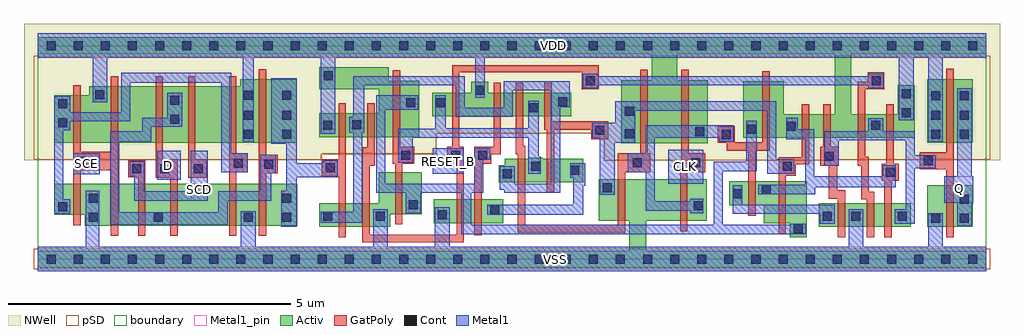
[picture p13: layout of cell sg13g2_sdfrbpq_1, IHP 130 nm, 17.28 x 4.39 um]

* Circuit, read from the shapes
.subckt sg13g2_sdfrbpq_1 CLK D Q RESET_B SCD SCE VDD VSS
XM1 VSS SCE n1 VSS sg13_lv_nmos w=0.55u l=0.13u
XM2 n2 SCE VSS VSS sg13_lv_nmos w=0.74u l=0.13u
XM3 n3 SCD n2 VSS sg13_lv_nmos w=0.74u l=0.13u
XM4 n4 D n3 VSS sg13_lv_nmos w=0.74u l=0.13u
XM5 VSS n1 n4 VSS sg13_lv_nmos w=0.74u l=0.13u
XM6 n5 n3 VSS VSS sg13_lv_nmos w=0.74u l=0.13u
XM7 n6 n5 n7 VSS sg13_lv_nmos w=0.42u l=0.13u
XM8 VSS RESET_B n6 VSS sg13_lv_nmos w=0.42u l=0.13u
XM9 n8 n9 VSS VSS sg13_lv_nmos w=0.74u l=0.13u
XM10 n10 RESET_B VSS VSS sg13_lv_nmos w=0.42u l=0.13u
XM11 n11 n8 n10 VSS sg13_lv_nmos w=0.42u l=0.13u
XM12 n9 n12 n7 VSS sg13_lv_nmos w=0.42u l=0.13u
XM13 n11 n13 n9 VSS sg13_lv_nmos w=0.42u l=0.13u
XM14 VSS n12 n13 VSS sg13_lv_nmos w=0.74u l=0.13u
XM15 n12 CLK VSS VSS sg13_lv_nmos w=0.74u l=0.13u
XM16 n14 n12 n15 VSS sg13_lv_nmos w=0.42u l=0.13u
XM17 n8 n13 n14 VSS sg13_lv_nmos w=0.74u l=0.13u
XM18 VSS n16 n15 VSS sg13_lv_nmos w=0.42u l=0.13u
XM19 n17 RESET_B VSS VSS sg13_lv_nmos w=0.42u l=0.13u
XM20 n16 n14 n17 VSS sg13_lv_nmos w=0.42u l=0.13u
XM21 Q n16 VSS VSS sg13_lv_nmos w=0.74u l=0.13u
XM22 VDD SCE n1 VDD sg13_lv_pmos w=0.84u l=0.13u
XM23 n18 SCE VDD VDD sg13_lv_pmos w=1u l=0.13u
XM24 n3 D n18 VDD sg13_lv_pmos w=1u l=0.13u
XM25 n19 SCD n3 VDD sg13_lv_pmos w=1u l=0.13u
XM26 VDD n1 n19 VDD sg13_lv_pmos w=1u l=0.13u
XM27 n5 n3 VDD VDD sg13_lv_pmos w=1.12u l=0.13u
XM28 n7 n5 VDD VDD sg13_lv_pmos w=0.42u l=0.13u
XM29 VDD RESET_B n7 VDD sg13_lv_pmos w=0.42u l=0.13u
XM30 n8 n9 VDD VDD sg13_lv_pmos w=1u l=0.13u
XM31 VDD RESET_B n9 VDD sg13_lv_pmos w=0.42u l=0.13u
XM32 n20 n8 VDD VDD sg13_lv_pmos w=0.42u l=0.13u
XM33 n9 n12 n20 VDD sg13_lv_pmos w=0.42u l=0.13u
XM34 n7 n13 n9 VDD sg13_lv_pmos w=0.42u l=0.13u
XM35 VDD n12 n13 VDD sg13_lv_pmos w=1.12u l=0.13u
XM36 n12 CLK VDD VDD sg13_lv_pmos w=1.12u l=0.13u
XM37 n14 n12 n8 VDD sg13_lv_pmos w=1u l=0.13u
XM38 n21 n13 n14 VDD sg13_lv_pmos w=0.42u l=0.13u
XM39 VDD n16 n21 VDD sg13_lv_pmos w=0.42u l=0.13u
XM40 n16 RESET_B VDD VDD sg13_lv_pmos w=0.42u l=0.13u
XM41 VDD n14 n16 VDD sg13_lv_pmos w=0.42u l=0.13u
XM42 Q n16 VDD VDD sg13_lv_pmos w=1.12u l=0.13u
.ends

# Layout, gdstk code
import gdstk
lib = gdstk.Library(unit=1e-6, precision=1e-09)
def R(c, l, rs):  # rectangles x0, y0, x1, y1
    for r in rs: c.add(gdstk.rectangle(r[:2], r[2:], *l))
def A(c, l, x, y, w, h, nx, ny, dx, dy):  # array of equal rectangles
    R(c, l, [(x+i*dx, y+j*dy, x+i*dx+w, y+j*dy+h) for i in range(nx) for j in range(ny)])
def P(c, l, *ps):  # polygons
    for p in ps: c.add(gdstk.Polygon(p, *l))
Activ = (1, 0)
GatPoly = (5, 0)
Cont = (6, 0)
Metal1 = (8, 0)
Metal1_pin = (8, 2)
pSD = (14, 0)
NWell = (31, 0)
boundary = (189, 4)

sg13g2_sdfrbpq_1 = lib.new_cell('sg13g2_sdfrbpq_1')
R(sg13g2_sdfrbpq_1, Activ, [(0,-0.15,4.8,0.15), (4.8,-0.15,16.8,0.15), (13.83,0.57,15.46,0.99), (15.75,0.57,16.56,1.31), (7.015,0.635,8.245,1.055), (15.75,2.06,16.56,3.18), (0,3.63,4.8,3.93)])
P(sg13g2_sdfrbpq_1, Activ, [(13.32,0.39),(13.32,0.635),(12.86,0.635),(12.86,0.955),(12.245,0.955),(12.245,1.375),(13.62,1.375),(13.62,0.39)],
  [(8.165,1.36),(8.165,1.66),(8.275,1.66),(8.275,1.78),(8.705,1.78),(8.705,1.79),(8.945,1.79),(8.945,1.78),(9.66,1.78),(9.66,1.36)],
  [(6.99,2.525),(6.99,2.945),(7.68,2.945),(7.68,3.14),(7.98,3.14),(7.98,2.945),(9.445,2.945),(9.445,2.525)],
  [(12.495,2.145),(12.495,3.145),(13.215,3.145),(13.215,2.565),(14.11,2.565),(14.11,3.63),(4.8,3.63),(4.8,3.93),(16.8,3.93),(16.8,3.63),(14.41,3.63),(14.41,2.565),(15.23,2.565),(15.23,3.08),(15.53,3.08),(15.53,2.145)],
  [(4.99,0.57),(4.99,0.99),(6.045,0.99),(6.045,1.535),(6.8,1.535),(6.8,0.795),(6.245,0.795),(6.245,0.57)],
  [(10.33,2.05),(10.33,3.17),(10.875,3.17),(10.875,3.63),(11.33,3.63),(11.33,3.17),(11.87,3.17),(11.87,2.05)],
  [(10.48,0.15),(10.48,0.675),(9.935,0.675),(9.935,1.415),(11.845,1.415),(11.845,0.675),(10.78,0.675),(10.78,0.15)],
  [(0.295,2.06),(0.295,2.9),(0.915,2.9),(0.915,3.06),(3.59,3.06),(3.59,3.18),(4.59,3.18),(4.59,2.06)],
  [(0.835,0.59),(0.835,0.78),(0.295,0.78),(0.295,1.33),(4.595,1.33),(4.595,0.59)],
  [(4.99,2.16),(4.99,2.58),(6.04,2.58),(6.04,3.01),(4.99,3.01),(4.99,3.395),(6.215,3.395),(6.215,3.16),(6.76,3.16),(6.76,2.16)])
P(sg13g2_sdfrbpq_1, GatPoly, [(2.665,1.44),(2.665,3.24),(2.795,3.24),(2.795,1.77),(2.995,1.77),(2.995,1.44)],
  [(3.92,0.41),(3.92,3.36),(4.05,3.36),(4.05,1.85),(4.25,1.85),(4.25,1.52),(4.05,1.52),(4.05,0.41)],
  [(14.68,0.39),(14.68,1.06),(14.585,1.06),(14.585,1.65),(14.52,1.65),(14.52,3.14),(14.695,3.14),(14.695,3.305),(14.995,3.305),(14.995,3.005),(14.65,3.005),(14.65,1.815),(14.715,1.815),(14.715,1.195),(14.81,1.195),(14.81,0.39)],
  [(16.09,0.39),(16.09,1.59),(15.62,1.59),(15.62,1.89),(16.09,1.89),(16.09,3.365),(16.22,3.365),(16.22,0.39)],
  [(1.295,0.41),(1.295,1.57),(0.765,1.57),(0.765,0.6),(0.635,0.6),(0.635,3.08),(0.765,3.08),(0.765,1.9),(1.295,1.9),(1.295,3.24),(1.425,3.24),(1.425,0.41)],
  [(3.39,0.41),(3.39,3.24),(3.52,3.24),(3.52,1.87),(3.72,1.87),(3.72,1.54),(3.52,1.54),(3.52,0.41)],
  [(5.33,0.39),(5.33,1.47),(5.035,1.47),(5.035,1.77),(5.33,1.77),(5.33,2.76),(5.46,2.76),(5.46,0.39)],
  [(6.33,0.615),(6.33,1.685),(6.29,1.685),(6.29,3.34),(6.42,3.34),(6.42,1.985),(6.665,1.985),(6.665,1.685),(6.46,1.685),(6.46,0.615)],
  [(5.75,0.295),(5.75,1.98),(5.84,1.98),(5.84,2.76),(5.97,2.76),(5.97,1.65),(5.88,1.65),(5.88,0.43),(7.42,0.43),(7.42,1.685),(7.25,1.685),(7.25,1.985),(7.34,1.985),(7.34,3.435),(9.935,3.435),(9.935,3.005),(9.635,3.005),(9.635,3.305),(7.47,3.305),(7.47,1.985),(7.55,1.985),(7.55,0.295)],
  [(9.015,1.18),(9.015,2.29),(8.975,2.29),(8.975,3.125),(9.105,3.125),(9.105,2.44),(10.1,2.44),(10.1,2.125),(9.8,2.125),(9.8,2.29),(9.145,2.29),(9.145,1.18)],
  [(8.505,0.465),(8.505,1.855),(8.465,1.855),(8.465,3.125),(8.595,3.125),(8.595,2.005),(8.635,2.005),(8.635,0.605),(10.275,0.605),(10.275,1.87),(10.675,1.87),(10.675,3.35),(10.805,3.35),(10.805,1.87),(10.85,1.87),(10.85,1.54),(10.405,1.54),(10.405,0.465)],
  [(14.99,0.39),(14.99,1.385),(14.95,1.385),(14.95,1.685),(15.03,1.685),(15.03,2.745),(15.16,2.745),(15.16,1.685),(15.25,1.685),(15.25,1.385),(15.12,1.385),(15.12,0.39)],
  [(12.585,0.765),(12.585,1.92),(12.2,1.92),(12.2,2.055),(12.045,2.055),(12.045,2.355),(12.345,2.355),(12.345,2.07),(12.835,2.07),(12.835,3.325),(12.965,3.325),(12.965,1.92),(12.715,1.92),(12.715,0.765)],
  [(14.17,0.39),(14.17,1.065),(14.005,1.065),(14.005,1.655),(13.855,1.655),(13.855,1.985),(13.91,1.985),(13.91,2.745),(14.04,2.745),(14.04,1.985),(14.185,1.985),(14.185,1.655),(14.155,1.655),(14.155,1.215),(14.3,1.215),(14.3,0.39)],
  [(7.735,0.425),(7.735,1.985),(8.075,1.985),(8.075,3.125),(8.205,3.125),(8.205,1.855),(8.035,1.855),(8.035,1.685),(7.865,1.685),(7.865,0.425)],
  [(13.12,0.445),(13.12,1.805),(13.53,1.805),(13.53,2.745),(13.66,2.745),(13.66,1.675),(13.42,1.675),(13.42,1.475),(13.25,1.475),(13.25,0.445)],
  [(2.35,0.41),(2.35,1.44),(2.09,1.44),(2.09,3.24),(2.22,3.24),(2.22,1.77),(2.48,1.77),(2.48,0.41)],
  [(11.375,0.495),(11.375,1.69),(11.4,1.69),(11.4,3.35),(11.53,3.35),(11.53,1.87),(11.82,1.87),(11.82,1.54),(11.505,1.54),(11.505,0.495)],
  [(1.78,0.41),(1.78,1.45),(1.61,1.45),(1.61,1.75),(1.91,1.75),(1.91,0.41)])
A(sg13g2_sdfrbpq_1, Cont, 4.48, -0.08, 0.16, 0.16, 26, 2, 0.48, 3.78)
A(sg13g2_sdfrbpq_1, Cont, 15.82, 2.13, 0.16, 0.16, 1, 3, 0, 0.34)
A(sg13g2_sdfrbpq_1, Cont, 16.33, 2.13, 0.16, 0.16, 1, 3, 0, 0.34)
R(sg13g2_sdfrbpq_1, Cont, [(0.16,-0.08,0.32,0.08), (0.16,-0.08,0.32,0.08), (0.64,-0.08,0.8,0.08), (0.64,-0.08,0.8,0.08), (1.12,-0.08,1.28,0.08), (1.12,-0.08,1.28,0.08), (1.6,-0.08,1.76,0.08), (1.6,-0.08,1.76,0.08), (2.08,-0.08,2.24,0.08), (2.08,-0.08,2.24,0.08), (2.56,-0.08,2.72,0.08), (2.56,-0.08,2.72,0.08), (3.04,-0.08,3.2,0.08), (3.04,-0.08,3.2,0.08), (3.52,-0.08,3.68,0.08), (3.52,-0.08,3.68,0.08), (4,-0.08,4.16,0.08), (4,-0.08,4.16,0.08), (4.48,-0.08,4.64,0.08), (13.39,0.46,13.55,0.62), (15.82,0.64,15.98,0.8), (16.33,0.64,16.49,0.8), (0.905,0.66,1.065,0.82), (2.06,0.66,2.22,0.82), (3.65,0.66,3.81,0.82), (4.33,0.66,4.49,0.82), (5.06,0.675,5.22,0.835), (5.99,0.675,6.15,0.835), (13.9,0.675,14.06,0.835), (14.41,0.675,14.57,0.835), (15.23,0.675,15.39,0.835), (7.085,0.705,7.245,0.865), (8.015,0.795,8.175,0.955), (0.365,0.85,0.525,1.01), (11.615,0.86,11.775,1.02), (6.57,0.88,6.73,1.04), (16.33,0.98,16.49,1.14), (0.905,1,1.065,1.16), (4.33,1,4.49,1.16), (12.315,1.075,12.475,1.235), (12.825,1.145,12.985,1.305), (10.005,1.185,10.165,1.345), (8.235,1.43,8.395,1.59), (15.02,1.455,15.18,1.615), (9.43,1.49,9.59,1.65), (1.68,1.52,1.84,1.68), (2.17,1.52,2.33,1.68), (2.765,1.52,2.925,1.68), (5.105,1.54,5.265,1.7), (8.745,1.56,8.905,1.72), (13.19,1.56,13.35,1.72), (4.01,1.6,4.17,1.76), (3.47,1.62,3.63,1.78), (10.535,1.625,10.695,1.785), (11.575,1.625,11.735,1.785), (0.705,1.65,0.865,1.81), (15.69,1.66,15.85,1.82), (13.94,1.74,14.1,1.9), (6.435,1.755,6.595,1.915), (7.32,1.755,7.48,1.915), (7.805,1.755,7.965,1.915), (12.115,2.125,12.275,2.285), (3.65,2.13,3.81,2.29), (4.33,2.13,4.49,2.29), (10.4,2.135,10.56,2.295), (11.64,2.175,11.8,2.335), (9.87,2.2,10.03,2.36), (12.565,2.215,12.725,2.375), (13.26,2.275,13.42,2.435), (14.76,2.285,14.92,2.445), (5.06,2.29,5.22,2.45), (5.57,2.295,5.73,2.455), (0.365,2.33,0.525,2.49), (2.35,2.395,2.51,2.555), (3.65,2.47,3.81,2.63), (4.33,2.47,4.49,2.63), (15.3,2.51,15.46,2.67), (10.4,2.54,10.56,2.7), (8.705,2.595,8.865,2.755), (0.365,2.67,0.525,2.83), (6.53,2.69,6.69,2.85), (7.06,2.69,7.22,2.85), (9.215,2.705,9.375,2.865), (2.35,2.735,2.51,2.895), (3.65,2.82,3.81,2.98), (4.33,2.82,4.49,2.98), (1.025,2.83,1.185,2.99), (15.3,2.85,15.46,3.01), (7.75,2.91,7.91,3.07), (9.705,3.075,9.865,3.235), (14.765,3.075,14.925,3.235), (5.065,3.165,5.225,3.325), (0.16,3.7,0.32,3.86), (0.16,3.7,0.32,3.86), (0.64,3.7,0.8,3.86), (0.64,3.7,0.8,3.86), (1.12,3.7,1.28,3.86), (1.12,3.7,1.28,3.86), (1.6,3.7,1.76,3.86), (1.6,3.7,1.76,3.86), (2.08,3.7,2.24,3.86), (2.08,3.7,2.24,3.86), (2.56,3.7,2.72,3.86), (2.56,3.7,2.72,3.86), (3.04,3.7,3.2,3.86), (3.04,3.7,3.2,3.86), (3.52,3.7,3.68,3.86), (3.52,3.7,3.68,3.86), (4,3.7,4.16,3.86), (4,3.7,4.16,3.86), (4.48,3.7,4.64,3.86)])
R(sg13g2_sdfrbpq_1, Metal1, [(11.165,1.335,11.79,1.935), (2.12,1.4,2.535,1.92), (0.635,1.5,1.105,1.87), (7,1.51,7.55,1.965)])
P(sg13g2_sdfrbpq_1, Metal1, [(1.285,0.61),(1.285,2.26),(1.855,2.26),(1.855,2.505),(2.3,2.505),(2.3,2.945),(2.56,2.945),(2.56,2.345),(2.015,2.345),(2.015,2.08),(1.45,2.08),(1.45,0.83),(3.195,0.83),(3.195,1.2),(3.945,1.2),(3.945,1.85),(4.22,1.85),(4.22,1.52),(4.135,1.52),(4.135,1.03),(3.365,1.03),(3.365,0.61)],
  [(8.69,1.51),(8.69,2.145),(6.645,2.145),(6.645,1.705),(6.385,1.705),(6.385,2.305),(7.045,2.305),(7.045,2.9),(7.225,2.9),(7.225,2.315),(8.69,2.315),(8.69,2.805),(8.875,2.805),(8.875,1.81),(8.91,1.81),(8.91,1.51)],
  [(1.71,1.03),(1.71,1.47),(1.63,1.47),(1.63,1.73),(1.89,1.73),(1.89,1.2),(2.715,1.2),(2.715,1.92),(3.015,1.92),(3.015,1.03)],
  [(5.01,0.645),(5.01,0.84),(5.59,0.84),(5.59,2.24),(5.52,2.24),(5.52,2.52),(5.59,2.52),(5.59,3.24),(7.565,3.24),(7.565,2.68),(8.255,2.68),(8.255,3.145),(9.425,3.145),(9.425,2.685),(9.25,2.685),(9.25,1.17),(8.265,1.17),(8.265,1.225),(8.185,1.225),(8.185,1.64),(8.445,1.64),(8.445,1.33),(9.09,1.33),(9.09,2.985),(8.415,2.985),(8.415,2.52),(7.405,2.52),(7.405,3.08),(5.78,3.08),(5.78,2.24),(5.75,2.24),(5.75,0.645)],
  [(9.955,1.135),(9.955,2.15),(9.82,2.15),(9.82,2.41),(10.225,2.41),(10.225,2.79),(13.075,2.79),(13.075,1.77),(13.4,1.77),(13.4,1.51),(12.915,1.51),(12.915,2.63),(10.585,2.63),(10.585,2.06),(10.215,2.06),(10.215,1.135)],
  [(0.295,0.8),(0.295,2.88),(0.575,2.88),(0.575,2.6),(1.48,2.6),(1.48,3.295),(3.425,3.295),(3.425,1.87),(3.72,1.87),(3.72,1.54),(3.25,1.54),(3.25,3.125),(1.64,3.125),(1.64,2.44),(0.575,2.44),(0.575,2.28),(0.455,2.28),(0.455,1.06),(0.575,1.06),(0.575,0.8)],
  [(11.555,0.81),(11.555,0.855),(10.765,0.855),(10.765,1.54),(10.45,1.54),(10.45,1.87),(10.765,1.87),(10.765,2.37),(12.325,2.37),(12.325,2.075),(12.065,2.075),(12.065,2.145),(10.925,2.145),(10.925,1.025),(11.555,1.025),(11.555,1.07),(11.79,1.07),(11.79,0.81)],
  [(12.76,1.145),(12.76,1.315),(13.59,1.315),(13.59,2.125),(13.255,2.125),(13.255,2.5),(13.46,2.5),(13.46,2.295),(13.75,2.295),(13.75,1.465),(14.965,1.465),(14.965,1.665),(15.19,1.665),(15.19,1.275),(13.77,1.275),(13.77,1.145)],
  [(16.28,0.59),(16.28,1),(16.055,1),(16.055,1.465),(16.28,1.465),(16.28,3.02),(16.54,3.02),(16.54,1.465),(16.57,1.465),(16.57,1),(16.54,1),(16.54,0.59)],
  [(9.655,3.025),(9.655,3.285),(9.915,3.285),(9.915,3.235),(14.71,3.235),(14.71,3.285),(14.98,3.285),(14.98,3.025),(14.71,3.025),(14.71,3.075),(9.915,3.075),(9.915,3.025)],
  [(7.505,0.44),(7.505,1.17),(6.78,1.17),(6.78,0.815),(6.52,0.815),(6.52,1.17),(6,1.17),(6,2.9),(6.74,2.9),(6.74,2.64),(6.16,2.64),(6.16,1.33),(7.735,1.33),(7.735,1.965),(8.015,1.965),(8.015,1.755),(7.895,1.755),(7.895,1.17),(7.675,1.17),(7.675,0.605),(11.97,0.605),(11.97,1.725),(12.545,1.725),(12.545,2.45),(12.735,2.45),(12.735,1.555),(12.13,1.555),(12.13,0.605),(13.34,0.605),(13.34,0.625),(13.6,0.625),(13.6,0.44)],
  [(0,-0.22),(0,0.22),(0.855,0.22),(0.855,1.21),(1.09,1.21),(1.09,0.22),(3.6,0.22),(3.6,0.845),(3.86,0.845),(3.86,0.22),(5.94,0.22),(5.94,0.885),(6.2,0.885),(6.2,0.22),(7.035,0.22),(7.035,0.915),(7.295,0.915),(7.295,0.22),(14.36,0.22),(14.36,0.885),(14.62,0.885),(14.62,0.22),(15.77,0.22),(15.77,0.81),(16.03,0.81),(16.03,0.22),(16.8,0.22),(16.8,-0.22)],
  [(7.965,0.785),(7.965,0.96),(9.485,0.96),(9.485,1.44),(9.43,1.44),(9.43,1.7),(9.695,1.7),(9.695,1.3),(9.665,1.3),(9.665,0.785)],
  [(13.85,0.625),(13.85,0.805),(12.31,0.805),(12.31,1.31),(12.48,1.31),(12.48,0.965),(14.11,0.965),(14.11,0.625)],
  [(4.315,0.57),(4.315,1.21),(4.4,1.21),(4.4,2.04),(4.135,2.04),(4.135,3.2),(4.59,3.2),(4.59,1.7),(5.055,1.7),(5.055,1.75),(5.315,1.75),(5.315,1.445),(4.59,1.445),(4.59,0.57)],
  [(3.63,2.08),(3.63,3.56),(1.235,3.56),(1.235,2.78),(0.975,2.78),(0.975,3.56),(0,3.56),(0,4),(16.8,4),(16.8,3.56),(16.03,3.56),(16.03,2.08),(15.77,2.08),(15.77,3.56),(15.51,3.56),(15.51,2.46),(15.25,2.46),(15.25,3.56),(7.915,3.56),(7.915,2.86),(7.745,2.86),(7.745,3.56),(5.27,3.56),(5.27,2.215),(5.015,2.215),(5.015,3.56),(3.83,3.56),(3.83,2.08)],
  [(15.18,0.625),(15.18,0.885),(15.37,0.885),(15.37,2.1),(14.185,2.1),(14.185,1.655),(13.93,1.655),(13.93,2.26),(14.71,2.26),(14.71,2.495),(14.97,2.495),(14.97,2.26),(15.53,2.26),(15.53,1.84),(15.9,1.84),(15.9,1.61),(15.53,1.61),(15.53,0.625)])
R(sg13g2_sdfrbpq_1, Metal1_pin, [(0,-0.22,16.8,0.22), (16.055,1,16.57,1.465), (2.715,1.03,3.015,1.92), (11.165,1.335,11.79,1.935), (2.12,1.4,2.535,1.92), (0.635,1.5,1.105,1.87), (7,1.51,7.55,1.965), (0,3.56,16.8,4)])
R(sg13g2_sdfrbpq_1, pSD, [(-0.07,-0.18,4.87,0.18), (-0.07,-0.18,16.87,0.18)])
P(sg13g2_sdfrbpq_1, pSD, [(10.03,1.75),(10.03,2.225),(7.06,2.225),(7.06,1.86),(5.025,1.86),(5.025,1.76),(-0.07,1.76),(-0.07,3.6),(16.87,3.6),(16.87,1.76),(13.925,1.76),(13.925,1.75)])
P(sg13g2_sdfrbpq_1, NWell, [(10.02,1.74),(10.02,2.215),(7.07,2.215),(7.07,1.85),(5.04,1.85),(5.04,1.75),(-0.24,1.75),(-0.24,4.17),(17.04,4.17),(17.04,1.75),(13.935,1.75),(13.935,1.74)])
R(sg13g2_sdfrbpq_1, boundary, [(0,0,16.8,3.78)])
sg13g2_sdfrbpq_1.add(gdstk.Label('SCE', (0.87,1.685), layer=8, texttype=25))
sg13g2_sdfrbpq_1.add(gdstk.Label('SCD', (2.865,1.23), layer=8, texttype=25))
sg13g2_sdfrbpq_1.add(gdstk.Label('Q', (16.315,1.245), layer=8, texttype=25))
sg13g2_sdfrbpq_1.add(gdstk.Label('VDD', (9.14,3.78), layer=8, texttype=25))
sg13g2_sdfrbpq_1.add(gdstk.Label('D', (2.325,1.66), layer=8, texttype=25))
sg13g2_sdfrbpq_1.add(gdstk.Label('CLK', (11.475,1.635), layer=8, texttype=25))
sg13g2_sdfrbpq_1.add(gdstk.Label('RESET_B', (7.275,1.735), layer=8, texttype=25))
sg13g2_sdfrbpq_1.add(gdstk.Label('VSS', (9.17,0), layer=8, texttype=25))

lib.write_gds('sg13g2_sdfrbpq_1.gds')
